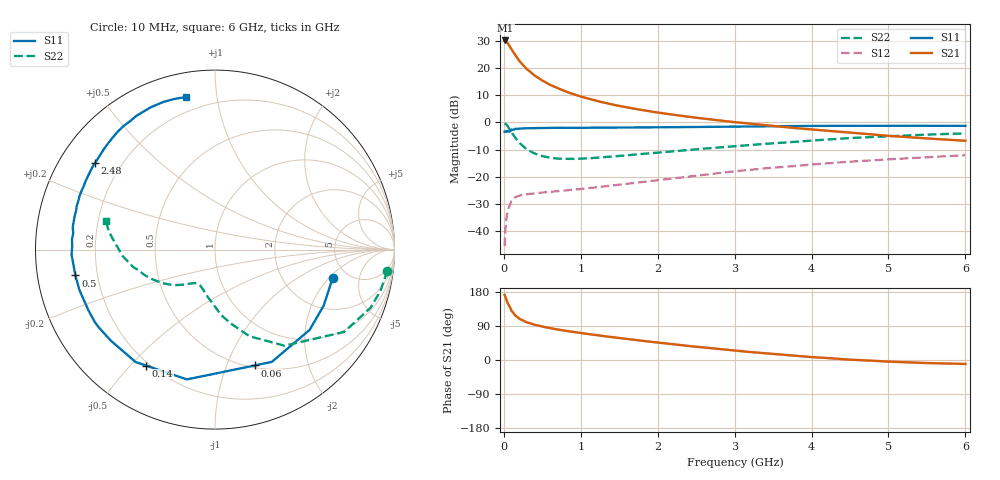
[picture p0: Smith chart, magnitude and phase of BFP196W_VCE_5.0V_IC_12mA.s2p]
! Infineon Technologies  Discrete & RF Semiconductors
! BFP196W
! VCE = 5.0 V,  IC =  12mA
! Common Emitter S-Parameters:  Jan 2016
# GHz  S  MA  R  50
!  f  S11  S21  S12  S22
! GHz  MAG  ANG  MAG  ANG  MAG  ANG  MAG  ANG
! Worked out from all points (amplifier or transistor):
!   210 points, 10 MHz to 6 GHz, reference 50 ohm
!   highest |S21| = 30.2 dB at 20 MHz (marker M1)
!   |S21| within 3 dB of that: start of sweep to 94.04 MHz
!   unconditionally stable (mu >= 1): 1.133 GHz to 3.294 GHz
!   at 185 MHz: K = 0.24, MSG = 25.2 dB, |S12| = -27.1 dB
!   at 1.52 GHz: K = 1.13, MAG = 12.2 dB, |S12| = -22.8 dB
!   at 6 GHz: K = 0.94, MSG = 2.7 dB, |S12| = -12.1 dB
!   S11 on the Smith chart (normalised r, x): 10 MHz: 3.79, -2.21; 60 MHz: 0.52, -1.26; 140 MHz: 0.19, -0.55; 500 MHz: 0.12, -0.09; 2.48 GHz: 0.11, +0.32; 6 GHz: 0.12, +0.82
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0.01  0.6747 -13.6  32.16 171.9  0.0053 81.9  0.9674 -7.0
0.02  0.6812 -27.3  32.25 167.1  0.0106 76.0  0.9505 -13.8
0.03  0.6914 -40.3  31.38 161.1  0.0157 72.7  0.926 -20.4
0.05  0.7012 -63.2  28.99 149.6  0.0239 62.5  0.8535 -32.5
0.06  0.6823 -71.0  27.41 146.4  0.0261 57.8  0.8072 -36.0
0.1  0.7399 -102.2  22.2 129.6  0.0361 45.2  0.661 -54.1
0.14  0.7518 -120.8  18.08 120.1  0.041 37.8  0.5448 -64.9
0.15  0.7667 -125.2  17.15 117.0  0.0423 36.2  0.5196 -68.3
0.2  0.7708 -138.7  13.6 109.1  0.0449 31.1  0.4235 -77.6
0.26  0.7819 -149.1  10.94 102.9  0.0471 28.2  0.3558 -85.7
0.3  0.7821 -154.3  9.515 99.3  0.0479 26.9  0.318 -90.0
0.4  0.7881 -163.4  7.29 92.9  0.0497 26.0  0.2687 -98.3
0.5  0.7914 -169.5  5.899 87.9  0.0513 26.7  0.2405 -104.4
0.7  0.7999 -178.0  4.273 80.4  0.0544 29.1  0.2166 -112.3
1.02  0.7964 172.9  2.94 70.8  0.0601 34.6  0.2162 -120.2
1.42  0.8041 164.0  2.129 59.9  0.0694 40.7  0.2368 -126.5
2.02  0.8155 152.4  1.508 45.6  0.0877 46.6  0.2802 -135.2
2.48  0.8245 144.3  1.233 35.4  0.1046 48.4  0.3189 -142.4
3.1  0.8416 134.1  0.983 23.1  0.1303 47.9  0.3751 -152.8
4.1  0.8646 119.4  0.725 6.5  0.1729 43.4  0.474 -169.5
5.1  0.8708 108.3  0.556 -5.0  0.2134 36.3  0.5653 175.1
6  0.8655 100.7  0.461 -10.4  0.249 29.9  0.6292 165.2
